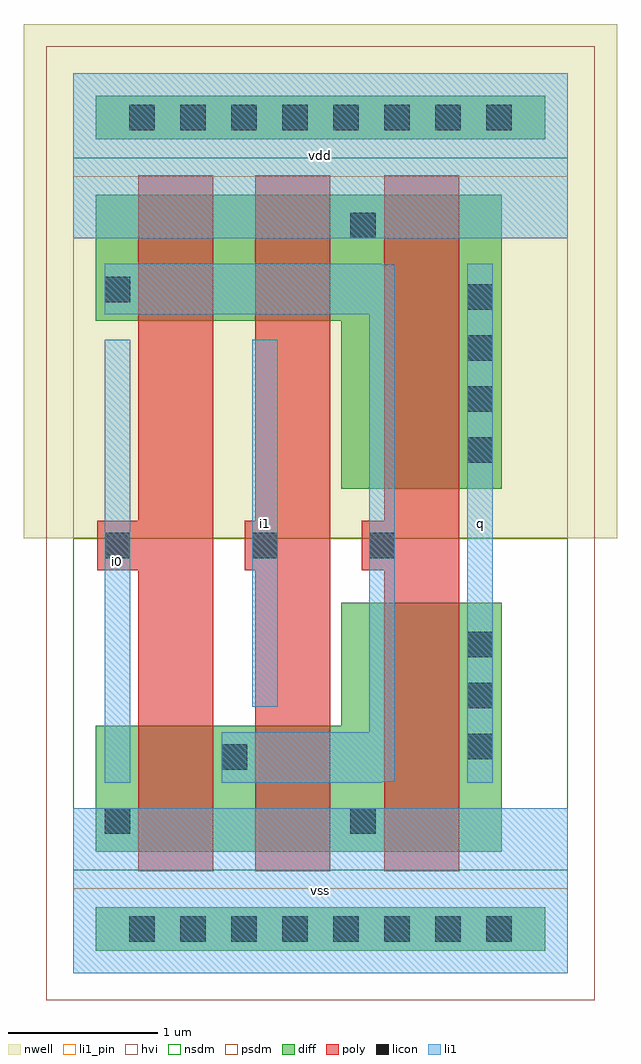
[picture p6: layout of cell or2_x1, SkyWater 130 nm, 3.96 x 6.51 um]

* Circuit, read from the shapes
.subckt or2_x1 i0 i1 q vdd vss
XM1 n1 i0 vss VSUBS sky130_fd_pr__nfet_g5v0d10v5 w=0.84 l=0.5
XM2 vss i1 n1 VSUBS sky130_fd_pr__nfet_g5v0d10v5 w=0.84 l=0.5
XM3 q n1 vss VSUBS sky130_fd_pr__nfet_g5v0d10v5 w=1.66 l=0.5
XM4 n2 i0 n1 n3 sky130_fd_pr__pfet_g5v0d10v5 w=0.84 l=0.5
XM5 vdd i1 n2 n3 sky130_fd_pr__pfet_g5v0d10v5 w=0.84 l=0.5
XM6 q n1 vdd n3 sky130_fd_pr__pfet_g5v0d10v5 w=1.96 l=0.5
.ends

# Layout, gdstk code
import gdstk
lib = gdstk.Library(unit=1e-6, precision=1e-09)
def R(c, l, rs):  # rectangles x0, y0, x1, y1
    for r in rs: c.add(gdstk.rectangle(r[:2], r[2:], *l))
def A(c, l, x, y, w, h, nx, ny, dx, dy):  # array of equal rectangles
    R(c, l, [(x+i*dx, y+j*dy, x+i*dx+w, y+j*dy+h) for i in range(nx) for j in range(ny)])
def P(c, l, *ps):  # polygons
    for p in ps: c.add(gdstk.Polygon(p, *l))
nwell = (64, 20)
diff = (65, 20)
poly = (66, 20)
licon = (66, 44)
li1_pin = (67, 16)
li1 = (67, 20)
hvi = (75, 20)
nsdm = (93, 44)
psdm = (94, 20)

or2_x1 = lib.new_cell('or2_x1')
R(or2_x1, nwell, [(-0.33,2.9,3.63,6.33)])
R(or2_x1, diff, [(0.15,0.15,3.15,0.44), (0.15,5.56,3.15,5.85)])
P(or2_x1, diff, [(0.15,0.81),(0.15,1.65),(1.79,1.65),(1.79,2.47),(2.86,2.47),(2.86,0.81)],
  [(1.79,3.23),(1.79,4.35),(0.15,4.35),(0.15,5.19),(2.86,5.19),(2.86,3.23)])
P(or2_x1, poly, [(2.075,0.68),(2.075,2.685),(1.925,2.685),(1.925,3.015),(2.075,3.015),(2.075,5.32),(2.575,5.32),(2.575,0.68)],
  [(0.435,0.68),(0.435,2.685),(0.16,2.685),(0.16,3.015),(0.435,3.015),(0.435,5.32),(0.935,5.32),(0.935,0.68)],
  [(1.215,0.68),(1.215,2.685),(1.145,2.685),(1.145,3.015),(1.215,3.015),(1.215,5.32),(1.715,5.32),(1.715,0.68)])
A(or2_x1, licon, 0.375, 0.21, 0.17, 0.17, 8, 2, 0.34, 5.41)
A(or2_x1, licon, 2.63, 1.425, 0.17, 0.17, 1, 3, 0, 0.34)
A(or2_x1, licon, 2.63, 3.405, 0.17, 0.17, 1, 4, 0, 0.34)
R(or2_x1, licon, [(0.21,0.93,0.38,1.1), (1.85,0.93,2.02,1.1), (0.99,1.355,1.16,1.525), (0.21,2.765,0.38,2.935), (1.195,2.765,1.365,2.935), (1.975,2.765,2.145,2.935), (0.21,4.475,0.38,4.645), (1.85,4.9,2.02,5.07)])
R(or2_x1, li1_pin, [(0,0,3.3,1.1), (0.21,1.27,0.38,4.225), (2.63,1.27,2.8,4.73), (1.195,1.775,1.365,4.225), (0,4.9,3.3,6)])
R(or2_x1, li1, [(0,0,3.3,1.1), (0.21,1.27,0.38,4.225), (2.63,1.27,2.8,4.73), (1.195,1.775,1.365,4.225), (0,4.9,3.3,6)])
P(or2_x1, li1, [(0.99,1.27),(0.99,1.605),(1.975,1.605),(1.975,4.395),(0.21,4.395),(0.21,4.73),(2.06,4.73),(2.06,4.725),(2.145,4.725),(2.145,1.275),(2.06,1.275),(2.06,1.27)])
R(or2_x1, hvi, [(-0.18,-0.18,3.48,6.18)])
R(or2_x1, nsdm, [(0,0.685,3.3,2.9), (0,5.435,3.3,6)])
R(or2_x1, psdm, [(0,0,3.3,0.565), (0,2.9,3.3,5.315)])
or2_x1.add(gdstk.Label('vss', (1.65,0.55), layer=67, texttype=16))
or2_x1.add(gdstk.Label('vdd', (1.65,5.45), layer=67, texttype=16))
or2_x1.add(gdstk.Label('i0', (0.295,2.748), layer=67, texttype=16))
or2_x1.add(gdstk.Label('i1', (1.28,3), layer=67, texttype=16))
or2_x1.add(gdstk.Label('q', (2.715,3), layer=67, texttype=16))

lib.write_gds('or2_x1.gds')
